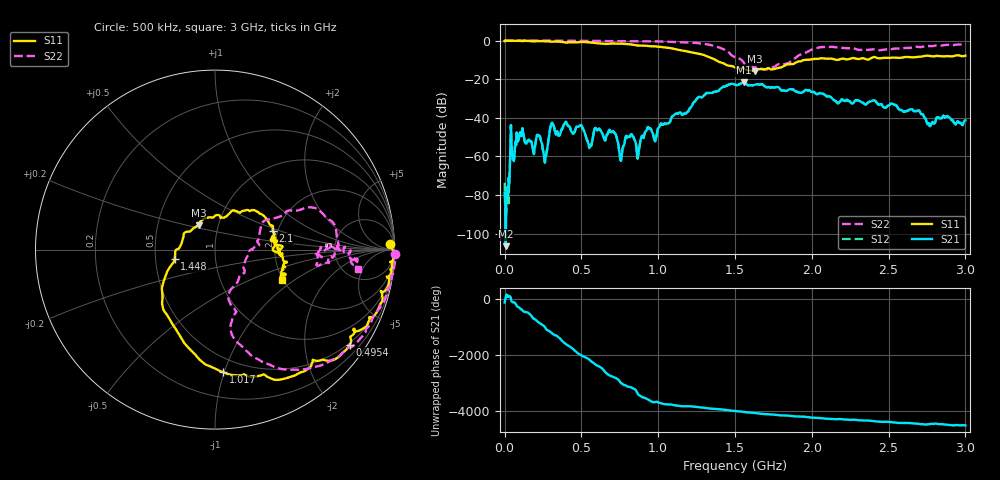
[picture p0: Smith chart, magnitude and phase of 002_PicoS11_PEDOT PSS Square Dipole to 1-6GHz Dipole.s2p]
!  02/04/2026  15:40:41
! Ref Plane: 0.000 mm
# MHZ S MA R  50
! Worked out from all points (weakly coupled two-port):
!   801 points, 500 kHz to 3 GHz, reference 50 ohm
!   highest |S21| = -21.63 dB at 1.556 GHz (marker M1); lowest = -106.5 dB at 7.999 MHz (marker M2)
!   lowest |S11| = -15.8 dB at 1.628 GHz (marker M3), VSWR 1.39, Z = 40.3 + j11.1 ohm
!   |S11| at or under -10 dB: 1.374 GHz to 1.957 GHz (583.3 MHz wide, 35 % of centre); 2.162409 GHz to 2.164435 GHz (2.026 MHz wide, 0.0936 % of centre)
!   |S22| runs from -15.0 to 0.1 dB; largest |S21 - S12| = 0.0014
!   S11 on the Smith chart (normalised r, x): 500 kHz: 30, +38; 495.4 MHz: 0.45, -3.10; 1.017 GHz: 0.39, -0.99; 1.448 GHz: 0.63, -0.07; 2.1 GHz: 1.88, +0.45; 3 GHz: 1.98, -0.80
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0.5  0.9752 1.9  0.0001134 -120.3  0.0002071 -72.2  1.003 -1.5
7.9988  0.9952 -1.1  4.723e-06 82.5  2.487e-05 -158.6  1.009 -0.9
52.9913  0.9892 -4.5  0.001037 -107.5  0.0008428 -101.7  1.006 -1.6
109.232  0.979 -9.0  0.003417 -5.3  0.003358 -8.0  1.005 -3.2
225.4628  0.9746 -17.1  0.003404 -126.6  0.003358 -128.5  1 -6.5
262.9566  0.9679 -20.1  0.0006949 78.9  0.0006876 80.9  1.004 -7.1
307.9492  0.9378 -23.8  0.007518 -139.7  0.007524 -140.3  0.9931 -8.5
495.4182  0.9193 -35.2  0.006423 158.1  0.006432 157.0  0.9852 -12.8
502.9169  0.9198 -35.9  0.006104 130.7  0.006064 129.4  0.9867 -12.9
551.6589  0.9071 -42.1  0.001727 -7.9  0.001629 -14.4  0.99 -14.7
709.1328  0.842 -52.0  0.004332 83.9  0.004463 82.5  0.9754 -19.1
757.8748  0.8314 -57.0  0.0007596 -130.8  0.0007763 -136.5  0.9665 -21.0
1001.585  0.698 -84.0  0.005462 -112.1  0.005447 -112.2  0.9527 -30.4
1016.582  0.6855 -86.1  0.007061 -134.4  0.006996 -135.4  0.9488 -31.6
1447.761  0.2306 -166.8  0.06841 -22.6  0.06791 -23.4  0.5436 -75.5
1500.252  0.201 178.1  0.07219 -59.4  0.07158 -60.1  0.374 -72.7
1556.493  0.1921 150.1  0.08287 -88.8  0.08215 -89.4  0.2722 -74.2
1627.731  0.1622 124.0  0.07177 -125.1  0.07121 -125.9  0.2009 -44.5
2002.669  0.3313 34.5  0.04707 67.9  0.04683 67.0  0.5886 23.4
2100.153  0.3396 18.2  0.03598 28.3  0.03575 27.6  0.6827 5.6
2501.336  0.3538 -1.0  0.02116 -85.4  0.02089 -86.2  0.5879 0.6
3000.004  0.409 -24.2  0.008645 144.7  0.008493 144.9  0.8017 -7.7
